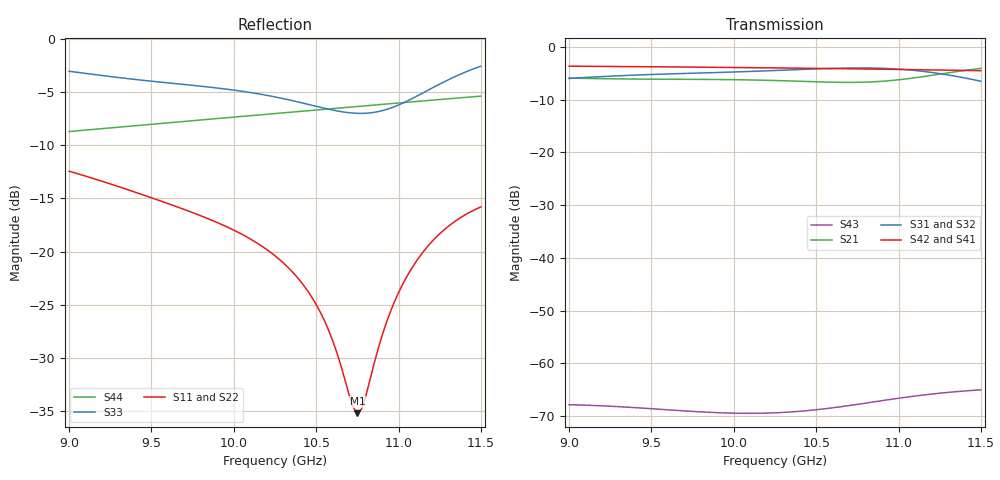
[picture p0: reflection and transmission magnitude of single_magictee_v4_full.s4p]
! Generated from PyAEDT SolutionData; AEDT ExportNetworkData workaround
# GHz S MA R 50
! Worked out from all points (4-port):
!   101 points, 9 GHz to 11.5 GHz, reference 50 ohm
!   strongest paths, dB at 9 GHz, 9.625 GHz, 10.25 GHz, 10.88 GHz, 11.5 GHz:
!     S42: -3.6, -3.8, -4.0, -4.2, -4.5
!     S41: -3.6, -3.8, -4.0, -4.2, -4.5
!     S31: -6.0, -5.1, -4.5, -4.0, -6.5
!     S32: -6.0, -5.1, -4.5, -4.0, -6.5
!     S21: -5.9, -6.1, -6.4, -6.5, -4.1
!     S43: -67.8, -68.9, -69.4, -67.2, -65.0
!   lowest |S11| = -35.2 dB at 10.75 GHz (marker M1), VSWR 1.04, Z = 48.4 - j0.618 ohm
!   |S11| at or under -10 dB: start of sweep to end of sweep
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9  0.2384 139.1  0.507 -179.0  0.5033 -91.6  0.6579 46.0
   0.507 -179.0  0.2379 139.1  0.5031 -91.7  0.6582 -134.0
   0.5033 -91.6  0.5031 -91.7  0.7026 -171.2  0.0004054 76.1
   0.6579 46.0  0.6582 -134.0  0.0004054 76.1  0.3661 -114.7
9.425  0.1873 89.1  0.4965 135.3  0.5434 -167.8  0.6505 -2.4
       0.4965 135.3  0.1865 89.0  0.5432 -167.9  0.6509 177.6
       0.5434 -167.8  0.5432 -167.9  0.6401 81.2  0.0003783 -20.2
       0.6505 -2.4  0.6509 177.6  0.0003783 -20.2  0.3913 -160.3
10.025  0.1232 19.3  0.4892 73.7  0.5814 87.1  0.6384 -67.9
        0.4892 73.7  0.1224 19.1  0.5812 87.0  0.6387 112.0
        0.5814 87.1  0.5812 87.0  0.5694 -69.5  0.0003367 -155.3
        0.6384 -67.9  0.6387 112.0  0.0003367 -155.3  0.4295 137.0
10.4  0.07331 -33.4  0.4735 37.4  0.6116 21.2  0.6296 -107.6
      0.4735 37.4  0.07255 -33.8  0.6115 21.0  0.6297 72.3
      0.6116 21.2  0.6115 21.0  0.502 -167.3  0.0003512 122.6
      0.6296 -107.6  0.6297 72.3  0.0003512 122.6  0.455 98.5
10.75  0.0174 -158.5  0.4628 8.3  0.6329 -43.5  0.6204 -144.1
       0.4628 8.3  0.01751 -161.3  0.633 -43.7  0.6203 35.8
       0.6329 -43.5  0.633 -43.7  0.4458 84.9  0.0004085 47.1
       0.6204 -144.1  0.6203 35.8  0.0004085 47.1  0.4799 62.9
11.075  0.08223 68.9  0.505 -15.9  0.6042 -106.9  0.6109 -177.6
        0.505 -15.9  0.08312 68.6  0.6044 -107.1  0.6105 2.2
        0.6042 -106.9  0.6044 -107.1  0.5193 -27.1  0.0004843 -22.8
        0.6109 -177.6  0.6105 2.2  0.0004843 -22.8  0.5041 29.9
11.5  0.162 -5.8  0.6271 -55.9  0.4737 172.0  0.5968 138.9
      0.6271 -55.9  0.1632 -6.1  0.474 171.7  0.5962 -41.2
      0.4737 172.0  0.474 171.7  0.7423 -150.0  0.0005613 -110.0
      0.5968 138.9  0.5962 -41.2  0.0005613 -110.0  0.537 -13.1
